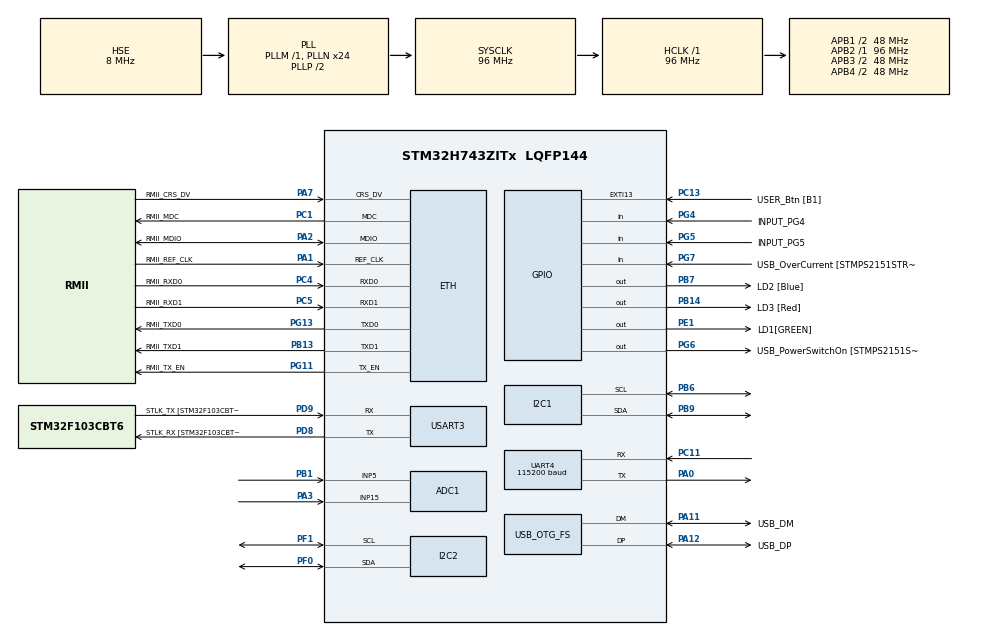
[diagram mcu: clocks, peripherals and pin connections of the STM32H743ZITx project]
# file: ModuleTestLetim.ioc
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NVIC.TIM6_DAC_IRQn=true\:0\:0\:false\:false\:true\:true\:true
PG4.Signal=GPIO_Input
PB14.GPIO_Label=LD3 [Red]
PG6.GPIO_Label=USB_PowerSwitchOn [STMPS2151STR_EN]
ADC1.OffsetNumber-10\#ChannelRegularConversion=ADC_OFFSET_NONE
RCC.PLLFRACN=0
PC5.Mode=RMII
SH.ADCx_INP5.0=ADC1_INP5,IN5-Single-Ended
PB13.Signal=ETH_TXD1
PG13.Signal=ETH_TXD0
RCC.SYSCLKSource=RCC_SYSCLKSOURCE_PLLCLK
USART3.VirtualMode-Asynchronous=VM_ASYNC
RCC.APB2TimFreq_Value=216000000
PB6.Signal=I2C1_SCL
Dma.ADC1.0.Direction=DMA_PERIPH_TO_MEMORY
PB6.Mode=I2C
PD8.Signal=USART3_TX
PE1.Signal=GPIO_Output
Dma.ADC1.0.MemDataAlignment=DMA_MDATAALIGN_HALFWORD
RCC.DIVM2=1
ADC1.OffsetNumber-9\#ChannelRegularConversion=ADC_OFFSET_NONE
RCC.DIVM1=1
PG6.GPIO_PuPd=GPIO_NOPULL
PC4.GPIO_Label=RMII_RXD0
Dma.ADC1.0.PeriphInc=DMA_PINC_DISABLE
PG4.GPIO_Label=INPUT_PG4
PA0.Mode=Asynchronous
PA8.Signal=USB_OTG_FS_SOF
PA0.Signal=UART4_TX
Mcu.Package=LQFP144
PB9.Signal=I2C1_SDA
PB1.Signal=ADCx_INP5
ADC1.EnableInjectedConversion=DISABLE
ADC1.OversamplingMode=DISABLE
PA10.Signal=USB_OTG_FS_ID
PC11.Mode=Asynchronous
PC14-OSC32_IN\ (OSC32_IN).Mode=LSE-External-Oscillator
RCC.APB2CLKDivider=RCC_HCLK_DIV2
RCC.APB4Freq_Value=48000000
RCC.APB1TimFreq_Value=108000000
Dma.ADC1.0.FIFOMode=DMA_FIFOMODE_DISABLE
PB13.Mode=RMII
PH0-OSC_IN\ (PH0).Mode=HSE-External-Clock-Source
Dma.ADC1.0.EventEnable=DISABLE
PC4.Mode=RMII
NVIC.UART4_IRQn=true\:0\:0\:false\:false\:true\:true\:true
ADC1.Channel-10\#ChannelRegularConversion=ADC_CHANNEL_15
Dma.ADC1.0.Instance=DMA1_Stream0
RCC.DIVQ1=4
PD9.GPIO_Label=STLK_TX [STM32F103CBT6_PA2]
Dma.ADC1.0.SyncRequestNumber=1
PG5.Signal=GPIO_Input
PA9.GPIO_Label=USB_VBUS
PC13.Signal=GPXTI13
PA11.GPIO_Label=USB_DM
RCC.DIVP2=15
RCC.APB1CLKDivider=RCC_HCLK_DIV4
PG13.GPIO_Label=RMII_TXD0
RCC.PWR_Regulator_Voltage_Scale=PWR_REGULATOR_VOLTAGE_SCALE1
I2C2.OwnAddress=0x18
PF1.Mode=I2C
PA8.GPIO_Label=USB_SOF [TP1]
Dma.ADC1.0.SignalID=NONE
Dma.ADC1.0.Priority=DMA_PRIORITY_LOW
PA9.Signal=USB_OTG_FS_VBUS
RCC.DIVN2=18
I2C1.Timing=0x20303E5D
RCC.DIVN1=24
NVIC.I2C2_ER_IRQn=true\:0\:0\:false\:false\:true\:true\:true
PD8.Mode=Asynchronous
PB14.Signal=GPIO_Output
PE1.GPIO_Label=LD1[GREEN]
PA1.Mode=RMII
RCC.PRESCALERUSB=RCC_USBCLKSOURCE_PLL_DIV1_5
PG7.GPIO_Label=USB_OverCurrent [STMPS2151STR_FAULT]
PA1.GPIO_Label=RMII_REF_CLK
ADC1.SamplingTime-10\#ChannelRegularConversion=ADC_SAMPLETIME_64CYCLES_5
ADC1.Rank-9\#ChannelRegularConversion=1
ETH.MediaInterface=HAL_ETH_RMII_MODE
ADC1.master=1
PG11.Mode=RMII
Dma.ADC1.0.RequestNumber=1
PA11.Signal=USB_OTG_FS_DM
ProjectManager.HeapSize=0x400
NVIC.PriorityGroup=NVIC_PRIORITYGROUP_4
ADC1.ConversionDataManagement=ADC_CONVERSIONDATA_DMA_CIRCULAR
ADC1.EnableRegularConversion=ENABLE
ADC1.SamplingTime-9\#ChannelRegularConversion=ADC_SAMPLETIME_64CYCLES_5
PC1.Signal=ETH_MDC
PC1.Mode=RMII
Mcu.Family=STM32H7
NVIC.USART3_IRQn=true\:0\:0\:false\:false\:true\:true\:true
USB_DEVICE.CLASS_NAME_FS=CDC
RCC.CortexFreq_Value=96000000
PG6.Signal=GPIO_Output
ADC1.Overrun=ADC_OVR_DATA_OVERWRITTEN
ADC1.ContinuousConvMode=ENABLE
PH0-OSC_IN\ (PH0).Signal=RCC_OSC_IN
Dma.ADC1.0.Polarity=HAL_DMAMUX_REQ_GEN_RISING
PC15-OSC32_OUT\ (OSC32_OUT).Mode=LSE-External-Oscillator
RCC.SYSCLKSourceVirtual=RCC_SYSCLKSOURCE_PLLCLK
I2C2.Timing=0x20303E5D
PA11.Mode=Device_Only
USB_DEVICE.VirtualMode-CDC_FS=Cdc
RCC.PLL2FRACN=6144
PC13.GPIO_Label=USER_Btn [B1]
PB13.GPIO_Label=RMII_TXD1
PG5.GPIO_Label=INPUT_PG5
PD9.Mode=Asynchronous
PG11.Signal=ETH_TX_EN
ProjectManager.StackSize=0x400
VP_TIM7_VS_ClockSourceINT.Mode=Enable_Timer
PA12.Signal=USB_OTG_FS_DP
UART4.BaudRate=115200
RCC.HCLKFreq_Value=96000000
PG5.GPIO_PuPd=GPIO_PULLDOWN
TIM7.Period=9999
RCC.AHBFreq_Value=216000000
RCC.HSE_VALUE=8000000
RCC.PLLMUL=RCC_PLL_MUL9
PA10.GPIO_Label=USB_ID
PB7.Signal=GPIO_Output
PG13.Mode=RMII
TIM6.Period=49
RCC.APB3Freq_Value=48000000
PB7.GPIO_Label=LD2 [Blue]
RCC.D1PPRE=RCC_APB3_DIV2
NVIC.OTG_FS_IRQn=true\:0\:0\:false\:false\:true\:false\:true
PA2.GPIO_Label=RMII_MDIO
USB_OTG_FS.VirtualMode=Device_Only
NVIC.DMA1_Stream0_IRQn=true\:0\:0\:false\:false\:true\:false\:true
SH.ADCx_INP15.0=ADC1_INP15,IN15-Single-Ended
PG11.GPIO_Label=RMII_TX_EN
PF0.Signal=I2C2_SDA
PC5.Signal=ETH_RXD1
Dma.Request0=ADC1
NVIC.TIM7_IRQn=true\:0\:0\:false\:false\:true\:true\:true
PA3.Signal=ADCx_INP15
CORTEX_M7.CPU_ICache=Enabled
PA7.Mode=RMII
PG7.Signal=GPIO_Input
ADC1.Rank-10\#ChannelRegularConversion=2
USB_DEVICE.VirtualModeFS=Cdc_FS
PC11.Signal=UART4_RX
TIM6.Prescaler=96
PC4.Signal=ETH_RXD0
VP_TIM6_VS_ClockSourceINT.Mode=Enable_Timer
RCC.D2PPRE1=RCC_APB1_DIV2
PD9.Signal=USART3_RX
PA12.GPIO_Label=USB_DP
PH1-OSC_OUT\ (PH1).Signal=RCC_OSC_OUT
PD8.GPIO_Label=STLK_RX [STM32F103CBT6_PA3]
TIM6.AutoReloadPreload=TIM_AUTORELOAD_PRELOAD_ENABLE
Dma.ADC1.0.PeriphDataAlignment=DMA_PDATAALIGN_HALFWORD
ProjectManager.TargetToolchain=MDK-ARM V5.27
PC15-OSC32_OUT\ (OSC32_OUT).Signal=RCC_OSC32_OUT
Dma.ADC1.0.Mode=DMA_NORMAL
Dma.ADC1.0.SyncSignalID=NONE
VP_USB_DEVICE_VS_USB_DEVICE_CDC_FS.Mode=CDC_FS
PB9.Mode=I2C
ADC1.EnableAnalogWatchDog1=false
RCC.USBFreq_Value=48000000
PA1.Signal=ETH_REF_CLK
TIM7.Prescaler=9599
board=NUCLEO-H743ZI
RCC.VCOOutputFreq_Value=432000000
Dma.ADC1.0.SyncPolarity=HAL_DMAMUX_SYNC_NO_EVENT
RCC.APB2Freq_Value=96000000
RCC.ADCFreq_Value=10000000
PC1.GPIO_Label=RMII_MDC
PF1.Signal=I2C2_SCL
ADC1.NbrOfConversion=2
Mcu.Name=STM32H743ZITx
PA2.Signal=ETH_MDIO
ADC1.Channel-9\#ChannelRegularConversion=ADC_CHANNEL_5
RCC.48MHZClocksFreq_Value=24000000
RCC.SYSCLKFreq_VALUE=96000000
PA7.GPIO_Label=RMII_CRS_DV
PA12.Mode=Device_Only
PC14-OSC32_IN\ (OSC32_IN).Signal=RCC_OSC32_IN
PC5.GPIO_Label=RMII_RXD1
Dma.ADC1.0.SyncEnable=DISABLE
Dma.ADC1.0.MemInc=DMA_MINC_ENABLE
PF0.Mode=I2C
PG4.GPIO_PuPd=GPIO_PULLDOWN
NVIC.I2C2_EV_IRQn=true\:0\:0\:false\:false\:true\:true\:true
RCC.HSI_VALUE=64000000
RCC.PLLQ=9
ADC1.NbrOfConversionFlag=1
PH0-OSC_IN\ (PH0).GPIO_Label=MCO
RCC.PLLM=25
RCC.PLLN=432
PA2.Mode=RMII
RCC.D3PPRE=RCC_APB4_DIV2
CORTEX_M7.CPU_DCache=Enabled
RCC.APB1Freq_Value=48000000
ADC1.ClockPrescaler=ADC_CLOCK_ASYNC_DIV1
PA7.Signal=ETH_CRS_DV

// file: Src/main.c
/* USER CODE BEGIN Header */
/**
  ******************************************************************************
  * @file           : main.c
  * @brief          : Main program body
  ******************************************************************************
  * @attention
  *
  * <h2><center>&copy; Copyright (c) 2020 STMicroelectronics.
  * All rights reserved.</center></h2>
  *
  * This software component is licensed by ST under Ultimate Liberty license
  * SLA0044, the "License"; You may not use this file except in compliance with
  * the License. You may obtain a copy of the License at:
  *                             www.st.com/SLA0044
  *
  ******************************************************************************
  */
/* USER CODE END Header */

#include "main.h"
#include "adc.h"
#include "dma.h"
#include "eth.h"
#include "i2c.h"
#include "tim.h"
#include "usart.h"
#include "usb_device.h"
#include "gpio.h"

/* USER CODE BEGIN Includes */
/* ----------------------- Modbus includes ----------------------------------*/

#include "mb.h"
#include "mbport.h"
#include "input.h"
#include "output.h"

/* -----------------------ad5696 includes----------------------------------*/
#include "ad5696.h"

/* -----------------------ina219 includes----------------------------------*/
#include "ina219.h"

/* -----------------------adc_input includes--------------------------------*/
#include "adc_input.h"

/* -----------------------algorithm includes--------------------------------*/

#include "Timer.h"
#include "Test_algorithm1.h"
#include "Test_algorithm2.h"
#include "Test_algorithm3.h"

/* USER CODE END Includes */

/* USER CODE BEGIN PTD */
#define ADC_CONVERTED_DATA_BUFFER_SIZE   ((uint8_t)  2)   /* Size of array aADCxConvertedData[] */

 extern  uint16_t timeout_Timer6 ;
 extern volatile uint16_t counter_Timer6;

/* USER CODE END PTD */

/* USER CODE BEGIN PD */
//**********************************************************/
//********INPUT and OUTPUT buffers for ModBusRTU************/
//**********************************************************/

//**********DEFINES FOR INPUTS REGISTERS*******************/

 static USHORT   usRegInputStart = REG_INPUT_START;
 static USHORT   usRegInputBuf[REG_INPUT_NREGS];

//**********DEFINES FOR HOLDING REGISTERS*******************/
 static USHORT   usRegHoldingStart = REG_HOLDING_START;
  SHORT    OutRegHoldingBuf[REG_HOLDING_NREGS];
  SHORT    InputHoldingBuf[REG_HOLDING_NREGS];

//**********DEFINES FOR COILS REGISTERS*******************/
 unsigned char ucRegCoilsBuf[REG_COILS_SIZE];

//**********DEFINES FOR DISCRETE REGISTERS*******************/
 static USHORT   usInputStatusStart = INPUT_STATUS_START;
 static USHORT   usInputStatusBuf[INPUT_INPUT_NREGS];

//extern uint8_t TXbuffer[3];

// ****I********Input ADC *******

//ALIGN_32BYTES (static short aADCxConvertedData[ADC_CONVERTED_DATA_BUFFER_SIZE]);

//ALIGN_32BYTES (static short aADCxConvertedData[ADC_CONVERTED_DATA_BUFFER_SIZE]);

volatile uint16_t aADCxConvertedData[ADC_CONVERTED_DATA_BUFFER_SIZE];

volatile uint16_t aADCxConvertedData2[ADC_CONVERTED_DATA_BUFFER_SIZE];

/* USER CODE END PD */

/* USER CODE BEGIN PV */

//extern uint8_t TXbuffer[4];

/* USER CODE END PV */

void SystemClock_Config(void);
/* USER CODE BEGIN PFP */

void ModbusRTU_polling(void);
void ADC_data_read (void);
void Algorithm_process(void);

uint8_t Get_current_algorithm(void);

static uint8_t current_algorithm ;

/* USER CODE END PFP */

int main(void)
{

  /* Enable I-Cache---------------------------------------------------------*/
  SCB_EnableICache();

  /* Enable D-Cache---------------------------------------------------------*/
  SCB_EnableDCache();

  /* MCU Configuration--------------------------------------------------------*/

  /* Reset of all peripherals, Initializes the Flash interface and the Systick. */
  HAL_Init();

  /* Configure the system clock */
  SystemClock_Config();

  /* Initialize all configured peripherals */
  MX_GPIO_Init();
  MX_DMA_Init();
  MX_ETH_Init();
  MX_I2C2_Init();
  MX_UART4_Init();
  MX_USART3_UART_Init();
  MX_USB_DEVICE_Init();
  MX_ADC1_Init();
  MX_I2C1_Init();
  MX_TIM7_Init();
  MX_TIM6_Init();

  /* USER CODE BEGIN 2 */

/* ######### ModbusRTU init and enable ####### */
	 eMBErrorCode    eStatus;
   eStatus =  eMBInit( MB_RTU, 0x05, 0, 115200, MB_PAR_NONE );
	 eStatus =  eMBEnable();

/*########## ad5696 init  and set init value ###### */

     AD5696_init();

/* ######## init all INA_219 ########### */

//	 INA219_init ();

//******** ADC init ********

 /* ###  Start calibration ############################################ */
  if (HAL_ADCEx_Calibration_Start(&hadc1, ADC_CALIB_OFFSET, ADC_SINGLE_ENDED) != HAL_OK)
  {
    Error_Handler();
	}

 /* ### Start conversion in DMA mode ################################# */
	if(HAL_ADC_Start_DMA(&hadc1, (uint32_t*)aADCxConvertedData, ADC_CONVERTED_DATA_BUFFER_SIZE) != HAL_OK)

   {
		 Error_Handler();
   }

	/* #######  Init start for TIMER&, used  no blocking delay ########### */

   HAL_TIM_Base_Start_IT(&htim7);

  /* USER CODE END 2 */

  /* Infinite loop */
  /* USER CODE BEGIN WHILE */
  while (1)
  {

   /*####### polling ModbusRTU ######## */

	  ModbusRTU_polling();

   /*####### reading ADC data ######## */
		ADC_data_read ();

   /*####### algorithm process ####### */

		Algorithm_process();

    /* USER CODE END WHILE */

    /* USER CODE BEGIN 3 */

 //**** Read date from sensors INA 219********//

 //  Read_all_INA219();
 //  Convert_all_data_IN219();

// **************OUTPUT SET**********************//
	if((ucRegCoilsBuf[0])&&(0x01) == 1){

		  //  HAL_GPIO_WritePin(GPIOB, LD3_Pin, GPIO_PIN_SET);
	    }
	else{
	    //  HAL_GPIO_WritePin(GPIOB, LD3_Pin, GPIO_PIN_RESET);
	  }

		if((ucRegCoilsBuf[0]>>1)&&0x01 == 1){

		  //  HAL_GPIO_WritePin(GPIOB, LD2_Pin, GPIO_PIN_SET);
	    }
	else{
	    //  HAL_GPIO_WritePin(GPIOB, LD2_Pin, GPIO_PIN_RESET);
	  }

	//	test_algorithm2();
  }

  /* USER CODE END 3 */
}

void SystemClock_Config(void)
{
  RCC_OscInitTypeDef RCC_OscInitStruct = {0};
  RCC_ClkInitTypeDef RCC_ClkInitStruct = {0};
  RCC_PeriphCLKInitTypeDef PeriphClkInitStruct = {0};

  /** Supply configuration update enable
  */
  HAL_PWREx_ConfigSupply(PWR_LDO_SUPPLY);
  /** Configure the main internal regulator output voltage
  */
  __HAL_PWR_VOLTAGESCALING_CONFIG(PWR_REGULATOR_VOLTAGE_SCALE1);

  while(!__HAL_PWR_GET_FLAG(PWR_FLAG_VOSRDY)) {}
  /** Macro to configure the PLL clock source
  */
  __HAL_RCC_PLL_PLLSOURCE_CONFIG(RCC_PLLSOURCE_HSE);
  /** Initializes the CPU, AHB and APB busses clocks
  */
  RCC_OscInitStruct.OscillatorType = RCC_OSCILLATORTYPE_HSE;
  RCC_OscInitStruct.HSEState = RCC_HSE_BYPASS;
  RCC_OscInitStruct.PLL.PLLState = RCC_PLL_ON;
  RCC_OscInitStruct.PLL.PLLSource = RCC_PLLSOURCE_HSE;
  RCC_OscInitStruct.PLL.PLLM = 1;
  RCC_OscInitStruct.PLL.PLLN = 24;
  RCC_OscInitStruct.PLL.PLLP = 2;
  RCC_OscInitStruct.PLL.PLLQ = 4;
  RCC_OscInitStruct.PLL.PLLR = 2;
  RCC_OscInitStruct.PLL.PLLRGE = RCC_PLL1VCIRANGE_3;
  RCC_OscInitStruct.PLL.PLLVCOSEL = RCC_PLL1VCOWIDE;
  RCC_OscInitStruct.PLL.PLLFRACN = 0;
  if (HAL_RCC_OscConfig(&RCC_OscInitStruct) != HAL_OK)
  {
    Error_Handler();
  }
  /** Initializes the CPU, AHB and APB busses clocks
  */
  RCC_ClkInitStruct.ClockType = RCC_CLOCKTYPE_HCLK|RCC_CLOCKTYPE_SYSCLK
                              |RCC_CLOCKTYPE_PCLK1|RCC_CLOCKTYPE_PCLK2
                              |RCC_CLOCKTYPE_D3PCLK1|RCC_CLOCKTYPE_D1PCLK1;
  RCC_ClkInitStruct.SYSCLKSource = RCC_SYSCLKSOURCE_PLLCLK;
  RCC_ClkInitStruct.SYSCLKDivider = RCC_SYSCLK_DIV1;
  RCC_ClkInitStruct.AHBCLKDivider = RCC_HCLK_DIV1;
  RCC_ClkInitStruct.APB3CLKDivider = RCC_APB3_DIV2;
  RCC_ClkInitStruct.APB1CLKDivider = RCC_APB1_DIV2;
  RCC_ClkInitStruct.APB2CLKDivider = RCC_APB2_DIV1;
  RCC_ClkInitStruct.APB4CLKDivider = RCC_APB4_DIV2;

  if (HAL_RCC_ClockConfig(&RCC_ClkInitStruct, FLASH_LATENCY_1) != HAL_OK)
  {
    Error_Handler();
  }
  PeriphClkInitStruct.PeriphClockSelection = RCC_PERIPHCLK_USART3|RCC_PERIPHCLK_UART4
                              |RCC_PERIPHCLK_I2C2|RCC_PERIPHCLK_ADC
                              |RCC_PERIPHCLK_I2C1|RCC_PERIPHCLK_USB;
  PeriphClkInitStruct.PLL2.PLL2M = 1;
  PeriphClkInitStruct.PLL2.PLL2N = 18;
  PeriphClkInitStruct.PLL2.PLL2P = 15;
  PeriphClkInitStruct.PLL2.PLL2Q = 2;
  PeriphClkInitStruct.PLL2.PLL2R = 2;
  PeriphClkInitStruct.PLL2.PLL2RGE = RCC_PLL2VCIRANGE_3;
  PeriphClkInitStruct.PLL2.PLL2VCOSEL = RCC_PLL2VCOMEDIUM;
  PeriphClkInitStruct.PLL2.PLL2FRACN = 6144;
  PeriphClkInitStruct.Usart234578ClockSelection = RCC_USART234578CLKSOURCE_D2PCLK1;
  PeriphClkInitStruct.I2c123ClockSelection = RCC_I2C123CLKSOURCE_D2PCLK1;
  PeriphClkInitStruct.UsbClockSelection = RCC_USBCLKSOURCE_PLL;
  PeriphClkInitStruct.AdcClockSelection = RCC_ADCCLKSOURCE_PLL2;
  if (HAL_RCCEx_PeriphCLKConfig(&PeriphClkInitStruct) != HAL_OK)
  {
    Error_Handler();
  }
  /** Enable USB Voltage detector
  */
  HAL_PWREx_EnableUSBVoltageDetector();
}

/* USER CODE BEGIN 4 */

eMBErrorCode
eMBRegInputCB( UCHAR * pucRegBuffer, USHORT usAddress, USHORT usNRegs )
{
    eMBErrorCode    eStatus = MB_ENOERR;
    int             iRegIndex;

    if( ( usAddress >= REG_INPUT_START )
        && ( usAddress + usNRegs <= REG_INPUT_START  + REG_INPUT_NREGS ) )
    {
        iRegIndex = ( int )( usAddress - usRegInputStart );
        while( usNRegs > 0 )
        {
            *pucRegBuffer++ = ( unsigned char )( usRegInputBuf[iRegIndex] >> 8 );

            *pucRegBuffer++ = ( unsigned char )( usRegInputBuf[iRegIndex] & 0xFF );
            iRegIndex++;
            usNRegs--;
        }
    }
    else
    {
        eStatus = MB_ENOREG;
    }

    return eStatus;
}

//**************************eMBRegHoldingCB************************/
eMBErrorCode
eMBRegHoldingCB( UCHAR * pucRegBuffer, USHORT usAddress, USHORT usNRegs,
                 eMBRegisterMode eMode )
{
       eMBErrorCode    eStatus = MB_ENOERR;
    int             iRegIndex;

    if( ( usAddress >= REG_HOLDING_START ) &&
        ( usAddress + usNRegs <= REG_HOLDING_START + REG_HOLDING_NREGS ) )
    {
        iRegIndex = ( int )( usAddress - usRegHoldingStart );
        switch ( eMode )
        {
            /* Pass current register values to the protocol stack. */
        case MB_REG_READ:
            while( usNRegs > 0 )
            {
                *pucRegBuffer++ = ( unsigned char )( OutRegHoldingBuf[iRegIndex] >> 8 );
                *pucRegBuffer++ = ( unsigned char )( OutRegHoldingBuf[iRegIndex] & 0xFF );
                iRegIndex++;
                usNRegs--;
            }
            break;

            /* Update current register values with new values from the
             * protocol stack. */
        case MB_REG_WRITE:
            while( usNRegs > 0 )
            {
                 InputHoldingBuf[iRegIndex] = *pucRegBuffer++ << 8;
                 InputHoldingBuf[iRegIndex] |= *pucRegBuffer++;
                 iRegIndex++;
                usNRegs--;
            }
        }

				//	 current_algorithm = Get_current_algorithm();
    }
    else
    {
        eStatus = MB_ENOREG;
    }
    return eStatus;
}

//********************eMBRegCoilsCB********************************/

eMBErrorCode
eMBRegCoilsCB( UCHAR * pucRegBuffer, USHORT usAddress, USHORT usNCoils,
               eMBRegisterMode eMode )
{
	  eMBErrorCode    eStatus = MB_ENOERR;
    short           iNCoils = ( short )usNCoils;
    unsigned short  usBitOffset;

    /* Check if we have registers mapped at this block. */
    if( ( usAddress >= REG_COILS_START ) &&
        ( usAddress + usNCoils <= REG_COILS_START + REG_COILS_SIZE ) )
    {
        usBitOffset = ( unsigned short )( usAddress - REG_COILS_START );
        switch ( eMode )
        {
                /* Read current values and pass to protocol stack. */
            case MB_REG_READ:
                while( iNCoils > 0 )
                {
                    *pucRegBuffer++ =
                        xMBUtilGetBits( ucRegCoilsBuf, usBitOffset,
                                        ( unsigned char )( iNCoils >
                                                           8 ? 8 :
                                                           iNCoils ) );
                    iNCoils -= 8;
                    usBitOffset += 8;
                }
                break;

                /* Update current register values. */
            case MB_REG_WRITE:
                while( iNCoils > 0 )
                {
                    xMBUtilSetBits( ucRegCoilsBuf, usBitOffset,
                                    ( unsigned char )( iNCoils > 8 ? 8 : iNCoils ),
                                    *pucRegBuffer++ );
                    iNCoils -= 8;
                }
                break;
        }

    }
    else
    {
        eStatus = MB_ENOREG;
    }
    return eStatus;
}

 //********************eMBRegDiscreteCB********************************

eMBErrorCode
eMBRegDiscreteCB( UCHAR * pucRegBuffer, USHORT usAddress, USHORT usNDiscrete )
{
   eMBErrorCode    eStatus = MB_ENOERR;
	 uint8_t tmpInputdata =  0x00;

    if( ( usAddress >= INPUT_STATUS_START )
        && ( usAddress + usNDiscrete <= INPUT_STATUS_START +  INPUT_INPUT_NREGS  ) )
    {
			       // for discrete inputs
			        if(read_input_1())
							{
						    tmpInputdata |= (1 << 0);
							}
			        if(read_input_2())
							{
							   tmpInputdata |= (1 << 1);
							}
							if(read_input_3())
							{
						     tmpInputdata |= (1 << 2);
							}
			        if(read_input_4())
							{
							   tmpInputdata |= (1 << 3);
							}

		        	*pucRegBuffer = tmpInputdata;
    }
    else
    {
        eStatus = MB_ENOREG;
    }

    return eStatus;
}

//******************************************************************

static uint32_t lock_nesting_count = 0;

void __critical_enter(void)
{
    __disable_irq();

	  // HAL_NVIC_DisableIRQ(UART4_IRQn);
	  // HAL_NVIC_DisableIRQ(TIM6_DAC_IRQn);
   // ++lock_nesting_count;
}
void __critical_exit(void)
{
    /* Unlock interrupts only when we are exiting the outermost nested call. */
  //  --lock_nesting_count;
  //  if (lock_nesting_count == 0) {

	//	  HAL_NVIC_EnableIRQ(UART4_IRQn);
	//		HAL_NVIC_EnableIRQ(TIM6_DAC_IRQn);
       __enable_irq();
   // }
}

void HAL_ADC_ConvHalfCpltCallback(ADC_HandleTypeDef* hadc)
{

  /* Invalidate Data Cache to get the updated content of the SRAM on the first half of the ADC converted data buffer: 32 bytes */
    SCB_InvalidateDCache_by_Addr((uint32_t *) &aADCxConvertedData[0], ADC_CONVERTED_DATA_BUFFER_SIZE);

}

void HAL_ADC_ConvCpltCallback(ADC_HandleTypeDef* hadc)
{

	 	  SCB_InvalidateDCache_by_Addr((uint32_t *) &aADCxConvertedData[1], ADC_CONVERTED_DATA_BUFFER_SIZE);
	    HAL_ADC_Stop_DMA(&hadc1);
	    flag_adc_dma = 1;

}

void HAL_TIM_PeriodElapsedCallback(TIM_HandleTypeDef *htim)
{
  /*
	  * timer6 for ModBus RTU
	*/
	   if(htim->Instance == TIM6) //check if the interrupt comes from TIM6
        {

          if((++counter_Timer6)>=timeout_Timer6)
             {
		           counter_Timer6 = 0;

		           ( void )pxMBPortCBTimerExpired(  );
            }
       }

 /*
	 *		timer7 for no block delay, timer tick 1 ms
 */
			if(htim->Instance == TIM7) //check if the interrupt comes from TIM7
       {
				Timer_Tick +=(uint32_t)uwTickFreq;
       }
}

/**
 *  modbus RTU polling
*/

void ModbusRTU_polling()
{
   eMBPoll();
   modbus_data_output_process();
	 modbus_data_input_process();
}

/**
 *  adc data read
*/

void ADC_data_read (){

  /*####### filter data from ADC ###### */
	 if (flag_adc_dma){

        flag_adc_dma = 0;

		    ADC_11=aADCxConvertedData[0];
	  	  ADC_12=aADCxConvertedData[1];

       filter_value11 = filter_moving_average(ADC_11,buf_11,&filter_reg1);
	     adc_average_value1 = moving_average_value_to_float(filter_value11);

	     filter_value12 = filter_moving_average(ADC_12,buf_12,&filter_reg2);
	     adc_average_value2 = moving_average_value_to_float(filter_value12);

   /* ### Start conversion in DMA mode ################################# */
	   if(HAL_ADC_Start_DMA(&hadc1, (uint32_t*)aADCxConvertedData, ADC_CONVERTED_DATA_BUFFER_SIZE) != HAL_OK)

         {
		      Error_Handler();
         }
    }
	}

/**
  * algorithm process
*/

void Algorithm_process()
 {

	 static uint8_t algorithm_number = ALG_IDLE;

	/*####### get current algorithm ###### */

  algorithm_number =  (uint8_t)OUTPUT_CURRENT_ALGORITHM.int_data;

	switch(algorithm_number)

	    {
		     case ALG_IDLE:
				      {

				      }

			     break;
		     case  ALG_1:

			      test_algorithm1();

			    break;

		     case  ALG_2:

			     test_algorithm2();

			   break;

		     case ALG_3:

			    test_algorithm3();

				 break;

				 default:
					 break;

	    }
	 }

uint8_t Get_current_algorithm()
{
    return OUTPUT_CURRENT_ALGORITHM.int_data;
}

/* USER CODE END 4 */

void Error_Handler(void)
{
}

/************************ (C) COPYRIGHT STMicroelectronics *****END OF FILE****/
